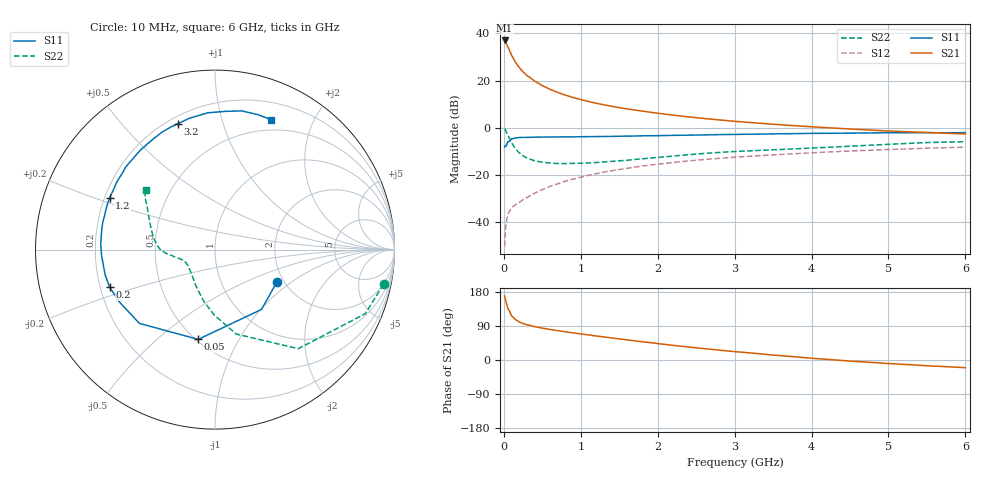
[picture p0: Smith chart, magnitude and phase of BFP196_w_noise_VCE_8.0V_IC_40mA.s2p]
! (c) 2017  Infineon Technologies AG, Munich
! Infineon Technologies  Discrete & RF Semiconductors
! BFP196
! VCE =  8.0 V,  IC =  40 mA
! Common Emitter S-Parameters:  Jan 2017
# GHz  S  MA  R  50
!  f  S11  S21  S12  S22
! GHz  MAG  ANG  MAG  ANG  MAG  ANG  MAG  ANG
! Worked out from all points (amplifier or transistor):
!   77 points, 10 MHz to 6 GHz, reference 50 ohm
!   highest |S21| = 37.0 dB at 10 MHz (marker M1)
!   |S21| within 3 dB of that: start of sweep to 56.82 MHz
!   unconditionally stable (mu >= 1): 628.3 MHz to 2.433 GHz
!   at 130 MHz: K = 0.54, MSG = 31.1 dB, |S12| = -33.2 dB
!   at 2.2 GHz: K = 1.01, MAG = 9.4 dB, |S12| = -14.7 dB
!   at 6 GHz: K = 0.94, MSG = 2.8 dB, |S12| = -8.2 dB
!   lowest NFmin = 1.34 dB at 450 MHz
!   S11 on the Smith chart (normalised r, x): 10 MHz: 1.84, -0.78; 50 MHz: 0.51, -0.69; 200 MHz: 0.24, -0.16; 1.2 GHz: 0.22, +0.22; 3.2 GHz: 0.24, +0.72; 6 GHz: 0.38, +1.45
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0.01  0.3889 -27.6  71.13 169.0  0.0031 81.7  0.9587 -11.6
0.02  0.4223 -52.1  68.39 159.2  0.007 77.6  0.9103 -23.1
0.05  0.5089 -100.6  53.17 136.2  0.0143 57.7  0.7215 -49.9
0.1  0.5887 -135.7  34.62 116.3  0.02 52.8  0.4851 -75.9
0.15  0.6078 -151.5  24.62 106.6  0.0234 51.0  0.3611 -91.2
0.2  0.6228 -160.3  18.96 100.5  0.0262 54.0  0.2954 -102.1
0.25  0.6278 -166.5  15.36 96.1  0.0301 55.3  0.2547 -110.2
0.3  0.6279 -171.0  12.88 93.0  0.0332 57.5  0.2287 -117.5
0.4  0.6332 -177.5  9.776 87.9  0.0413 61.1  0.2 -127.7
0.5  0.6371 177.5  7.84 84.0  0.049 62.4  0.1865 -135.5
0.6  0.6384 173.3  6.568 80.5  0.0575 63.8  0.1795 -141.7
0.7  0.6407 169.8  5.636 77.5  0.0647 64.5  0.1748 -146.3
0.9  0.6436 163.0  4.391 71.5  0.0817 63.6  0.1763 -152.8
1.1  0.6506 157.0  3.622 66.2  0.0988 63.0  0.1801 -157.7
1.2  0.6532 154.0  3.324 63.4  0.1066 62.0  0.1834 -159.9
1.6  0.6664 142.9  2.524 53.2  0.1384 58.0  0.2051 -166.0
2.1  0.6865 129.7  1.946 41.1  0.1767 51.9  0.2438 -172.3
3.1  0.7282 108.2  1.335 20.5  0.2435 39.2  0.3201 176.3
3.2  0.7314 106.4  1.297 18.7  0.2493 38.0  0.3254 174.9
4.1  0.764 91.6  1.03 3.2  0.3006 27.4  0.3785 160.9
5.1  0.7866 77.8  0.844 -10.4  0.3514 15.8  0.4552 146.7
6  0.7882 66.6  0.74 -20.3  0.3903 5.8  0.5085 139.2
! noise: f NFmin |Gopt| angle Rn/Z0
0.45  1.34  0.36  177  0.05
0.9  1.49  0.46  -167  0.07
1.9  2.31  0.68  -133  0.28
2.4  2.71  0.7  -120  0.62
